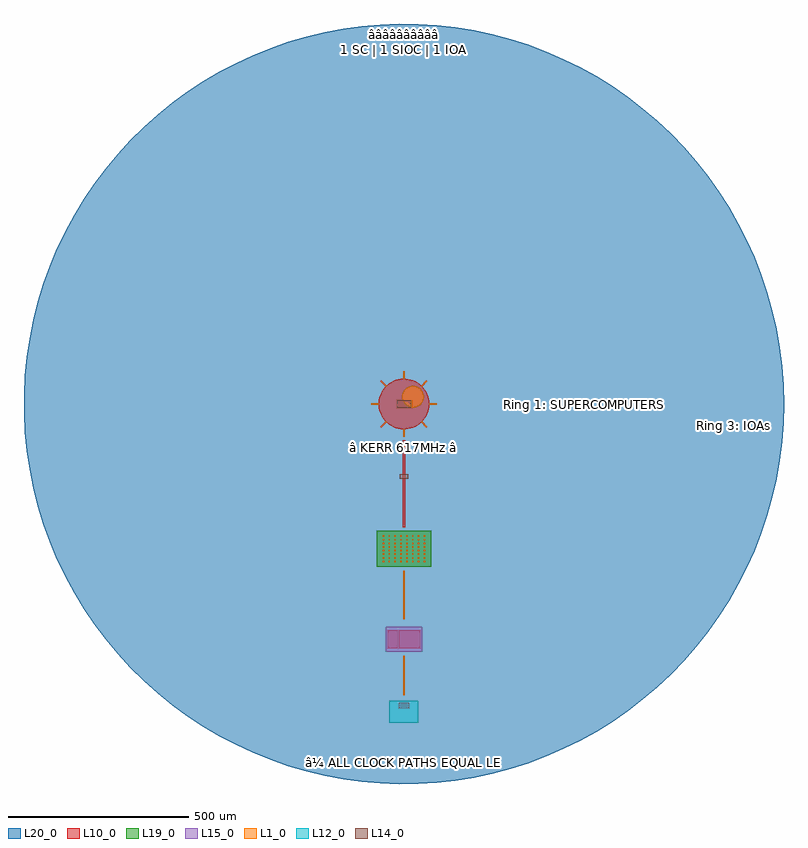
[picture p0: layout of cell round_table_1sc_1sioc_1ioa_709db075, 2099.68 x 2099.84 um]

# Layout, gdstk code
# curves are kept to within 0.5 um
import gdstk
lib = gdstk.Library(unit=1e-6, precision=1e-09)
def R(c, l, rs):  # rectangles x0, y0, x1, y1
    for r in rs: c.add(gdstk.rectangle(r[:2], r[2:], *l))
def A(c, l, x, y, w, h, nx, ny, dx, dy):  # array of equal rectangles
    R(c, l, [(x+i*dx, y+j*dy, x+i*dx+w, y+j*dy+h) for i in range(nx) for j in range(ny)])
def P(c, l, *ps):  # polygons
    for p in ps: c.add(gdstk.Polygon(p, *l))
L1_0 = (1, 0)
L10_0 = (10, 0)
L12_0 = (12, 0)
L14_0 = (14, 0)
L15_0 = (15, 0)
L19_0 = (19, 0)
L20_0 = (20, 0)

kerr_clock_hub_c9a1286e = lib.new_cell('kerr_clock_hub_c9a1286e')
R(kerr_clock_hub_c9a1286e, L1_0, [(-2,-90,2,-70), (-90,-2,-70,2), (70,-2,90,2), (-2,70,2,90)])
P(kerr_clock_hub_c9a1286e, L1_0, [(24.252,-9.991),(18.324,-9.248),(12.661,-7.345),(7.488,-4.358),(3.008,-0.405),(-0.599,4.357),(-3.191,9.739),(-4.963,18.505),(-4.665,24.471),(-3.191,30.261),(-0.599,35.643),(3.008,40.405),(7.488,44.358),(12.661,47.345),(18.324,49.248),(24.252,49.991),(30.209,49.544),(35.96,47.926),(41.276,45.201),(45.947,41.476),(49.787,36.9),(52.644,31.653),(54.405,25.944),(55,20),(54.405,14.056),(52.644,8.347),(49.787,3.1),(45.947,-1.476),(41.276,-5.201),(35.96,-7.926),(30.209,-9.544)],
  [(50.912,48.083),(48.083,50.912),(62.225,65.054),(65.054,62.225)],
  [(-50.912,48.083),(-65.054,62.225),(-62.225,65.054),(-48.083,50.912)],
  [(-62.225,-65.054),(-65.054,-62.225),(-50.912,-48.083),(-48.083,-50.912)],
  [(62.225,-65.054),(48.083,-50.912),(50.912,-48.083),(65.054,-62.225)])
P(kerr_clock_hub_c9a1286e, L10_0, [(-1.745,-69.978),(-8.704,-69.457),(-22.294,-66.355),(-35,-60.622),(-46.318,-52.485),(-55.799,-42.266),(-63.068,-30.372),(-67.835,-17.273),(-69.913,-3.489),(-69.218,10.433),(-65.778,23.941),(-59.73,36.5),(-51.314,47.612),(-40.862,56.836),(-28.79,63.805),(-15.576,68.245),(-1.745,69.978),(12.155,68.937),(25.574,65.161),(37.978,58.802),(48.877,50.111),(57.837,39.432),(64.503,27.19),(68.612,13.87),(70,0),(68.612,-13.87),(64.503,-27.19),(57.837,-39.432),(48.877,-50.111),(37.978,-58.802),(25.574,-65.161),(12.155,-68.937)])
R(kerr_clock_hub_c9a1286e, L14_0, [(-20,-10,20,10)])
P(kerr_clock_hub_c9a1286e, L20_0, [(-2.493,-99.969),(-22.252,-97.493),(-41.129,-91.151),(-50,-86.603),(-66.169,-74.978),(-79.713,-60.38),(-90.097,-43.388),(-96.908,-24.676),(-99.876,-4.985),(-98.883,14.904),(-93.969,34.202),(-85.329,52.144),(-73.305,68.017),(-58.374,81.194),(-41.129,91.151),(-22.252,97.493),(-2.493,99.969),(17.365,98.481),(36.534,93.087),(54.255,84.003),(69.824,71.587),(82.624,56.332),(92.148,38.843),(98.017,19.815),(100,0),(98.017,-19.815),(92.148,-38.843),(82.624,-56.332),(69.824,-71.587),(54.255,-84.003),(36.534,-93.087),(17.365,-98.481)])
kerr_clock_hub_c9a1286e.add(gdstk.Label('KERR', (25,20), layer=100, texttype=0))
kerr_clock_hub_c9a1286e.add(gdstk.Label('617 MHz', (0,-40), layer=100, texttype=0))
kerr_clock_hub_c9a1286e.add(gdstk.Label('CLOCK HUB', (0,85), layer=100, texttype=0))

sc_module_0_dfa90fb3 = lib.new_cell('sc_module_0_dfa90fb3')
A(sc_module_0_dfa90fb3, L1_0, 16.125, 13, 4, 4, 8, 8, 16.25, 10)
R(sc_module_0_dfa90fb3, L19_0, [(0,0,150,100)])
sc_module_0_dfa90fb3.add(gdstk.Label('SC-0', (75,50), layer=100, texttype=0))
sc_module_0_dfa90fb3.add(gdstk.Label('243Ã\x97243', (75,35), layer=100, texttype=0))

sioc_slot_0_98cdc1de = lib.new_cell('sioc_slot_0_98cdc1de')
R(sioc_slot_0_98cdc1de, L10_0, [(5,10,33.333,60), (35.833,10,64.167,60), (66.667,10,95,60)])
R(sioc_slot_0_98cdc1de, L15_0, [(0,0,100,70)])
sioc_slot_0_98cdc1de.add(gdstk.Label('WL', (19.167,35), layer=100, texttype=0))
sioc_slot_0_98cdc1de.add(gdstk.Label('AS', (50,35), layer=100, texttype=0))
sioc_slot_0_98cdc1de.add(gdstk.Label('RC', (80.833,35), layer=100, texttype=0))
sioc_slot_0_98cdc1de.add(gdstk.Label('SIOC-0', (50,65), layer=100, texttype=0))

ioa_slot_0_5897cc67 = lib.new_cell('ioa_slot_0_5897cc67')
R(ioa_slot_0_5897cc67, L10_0, [(25,40,55,55)])
R(ioa_slot_0_5897cc67, L12_0, [(0,0,80,60)])
ioa_slot_0_5897cc67.add(gdstk.Label('IOA-0', (40,20), layer=100, texttype=0))
ioa_slot_0_5897cc67.add(gdstk.Label('MODULAR', (40,10), layer=100, texttype=0))

round_table_1sc_1sioc_1i = lib.new_cell('round_table_1sc_1sioc_1ioa_709db075')
R(round_table_1sc_1sioc_1i, L1_0, [(1048,245,1052,355), (1048,455,1052,590)])
R(round_table_1sc_1sioc_1i, L10_0, [(1047,710,1053,950)])
R(round_table_1sc_1sioc_1i, L14_0, [(1038,844,1062,856)])
P(round_table_1sc_1sioc_1i, L20_0, [(1037.013,0.08),(985.107,2.007),(933.359,6.499),(881.897,13.544),(830.846,23.125),(780.331,35.22),(730.477,49.798),(681.404,66.823),(633.233,86.255),(586.082,108.044),(540.067,132.139),(495.299,158.481),(451.889,187.003),(409.942,217.638),(369.562,250.31),(330.847,284.939),(293.892,321.44),(258.787,359.723),(225.618,399.696),(194.467,441.261),(165.409,484.315),(138.517,528.753),(113.854,574.467),(91.483,621.345),(71.457,669.272),(53.826,718.13),(38.633,767.801),(25.914,818.162),(15.702,869.091),(8.021,920.462),(2.89,972.15),(0.321,1024.029),(0.321,1075.971),(2.89,1127.85),(8.021,1179.538),(15.702,1230.909),(25.914,1281.838),(38.633,1332.199),(53.826,1381.87),(71.457,1430.728),(91.483,1478.655),(113.854,1525.533),(138.517,1571.247),(165.409,1615.685),(194.467,1658.739),(225.618,1700.304),(258.787,1740.277),(293.892,1778.56),(330.847,1815.061),(369.562,1849.69),(409.942,1882.362),(451.889,1912.997),(495.299,1941.519),(540.067,1967.861),(586.082,1991.956),(633.233,2013.745),(681.404,2033.177),(730.477,2050.202),(780.331,2064.78),(830.846,2076.875),(881.897,2086.456),(933.359,2093.501),(985.107,2097.993),(1037.013,2099.92),(1088.952,2099.277),(1140.795,2096.067),(1192.416,2090.297),(1243.688,2081.981),(1294.486,2071.14),(1344.686,2057.8),(1394.165,2041.993),(1442.802,2023.759),(1490.477,2003.142),(1537.075,1980.193),(1582.48,1954.967),(1626.582,1927.526),(1669.274,1897.939),(1710.45,1866.276),(1750.01,1832.615),(1787.856,1797.039),(1823.897,1759.636),(1858.045,1720.495),(1890.214,1679.714),(1920.328,1637.392),(1948.312,1593.632),(1974.097,1548.542),(1997.621,1502.232),(2018.826,1454.815),(2037.661,1406.408),(2054.078,1357.128),(2068.038,1307.097),(2079.507,1256.437),(2088.456,1205.271),(2094.864,1153.726),(2098.715,1101.926),(2100,1050),(2098.715,998.074),(2094.864,946.274),(2088.456,894.729),(2079.507,843.563),(2068.038,792.903),(2054.078,742.872),(2037.661,693.592),(2018.826,645.185),(1997.621,597.768),(1974.097,551.458),(1948.312,506.368),(1920.328,462.608),(1890.214,420.286),(1858.045,379.505),(1823.897,340.364),(1787.856,302.961),(1750.01,267.385),(1710.45,233.724),(1669.274,202.061),(1626.582,172.474),(1582.48,145.033),(1537.075,119.807),(1490.477,96.858),(1442.802,76.241),(1394.165,58.007),(1344.686,42.2),(1294.486,28.86),(1243.688,18.019),(1192.416,9.703),(1140.795,3.933),(1088.952,0.723)])
round_table_1sc_1sioc_1i.add(gdstk.Reference(kerr_clock_hub_c9a1286e, (1050,1050)))
round_table_1sc_1sioc_1i.add(gdstk.Reference(sc_module_0_dfa90fb3, (975,600)))
round_table_1sc_1sioc_1i.add(gdstk.Reference(sioc_slot_0_98cdc1de, (1000,365)))
round_table_1sc_1sioc_1i.add(gdstk.Reference(ioa_slot_0_5897cc67, (1010,170)))
round_table_1sc_1sioc_1i.add(gdstk.Label('â\x98\x85 KERR 617MHz â\x98\x85', (1050,930), layer=100, texttype=0))
round_table_1sc_1sioc_1i.add(gdstk.Label('MASTER CLOCK', (1050,910), layer=100, texttype=0))
round_table_1sc_1sioc_1i.add(gdstk.Label('â\x95\x90â\x95\x90â\x95\x90â\x95\x90â\x95\x90â\x95\x90â\x95\x90â\x95\x90â\x95\x90â\x95\x90â\x95\x90â\x95\x90â\x95\x90â\x95\x90â\x95\x90â\x95\x90â\x95\x90â\x95\x90â\x95\x90â\x95\x90â\x95\x90â\x95\x90â\x95\x90â\x95\x90â\x95\x90â\x95\x90â\x95\x90â\x95\x90â\x95\x90â\x95\x90â\x95\x90â\x95\x90â\x95\x90â\x95\x90â\x95\x90â\x95\x90â\x95\x90â\x95\x90â\x95\x90â\x95\x90â\x95\x90â\x95\x90â\x95\x90â\x95\x90â\x95\x90â\x95\x90â\x95\x90â\x95\x90â\x95\x90â\x95\x90â\x95\x90', (1050,2070), layer=100, texttype=0))
round_table_1sc_1sioc_1i.add(gdstk.Label('ROUND TABLE BACKPLANE - OPTICAL SUPERCOMPUTER', (1050,2050), layer=100, texttype=0))
round_table_1sc_1sioc_1i.add(gdstk.Label('1 SC | 1 SIOC | 1 IOA', (1050,2030), layer=100, texttype=0))
round_table_1sc_1sioc_1i.add(gdstk.Label('â\x95\x90â\x95\x90â\x95\x90â\x95\x90â\x95\x90â\x95\x90â\x95\x90â\x95\x90â\x95\x90â\x95\x90â\x95\x90â\x95\x90â\x95\x90â\x95\x90â\x95\x90â\x95\x90â\x95\x90â\x95\x90â\x95\x90â\x95\x90â\x95\x90â\x95\x90â\x95\x90â\x95\x90â\x95\x90â\x95\x90â\x95\x90â\x95\x90â\x95\x90â\x95\x90â\x95\x90â\x95\x90â\x95\x90â\x95\x90â\x95\x90â\x95\x90â\x95\x90â\x95\x90â\x95\x90â\x95\x90â\x95\x90â\x95\x90â\x95\x90â\x95\x90â\x95\x90â\x95\x90â\x95\x90â\x95\x90â\x95\x90â\x95\x90â\x95\x90', (1050,2010), layer=100, texttype=0))
round_table_1sc_1sioc_1i.add(gdstk.Label('Ring 1: SUPERCOMPUTERS', (1550,1050), layer=100, texttype=0))
round_table_1sc_1sioc_1i.add(gdstk.Label('Ring 2: SUPER IOCs', (1780,1020), layer=100, texttype=0))
round_table_1sc_1sioc_1i.add(gdstk.Label('Ring 3: IOAs', (1960,990), layer=100, texttype=0))
round_table_1sc_1sioc_1i.add(gdstk.Label('â\x96¼ ALL CLOCK PATHS EQUAL LENGTH â\x96¼', (1050,60), layer=100, texttype=0))

lib.write_gds('round_table_1sc_1sioc_1ioa_709db075.gds')
